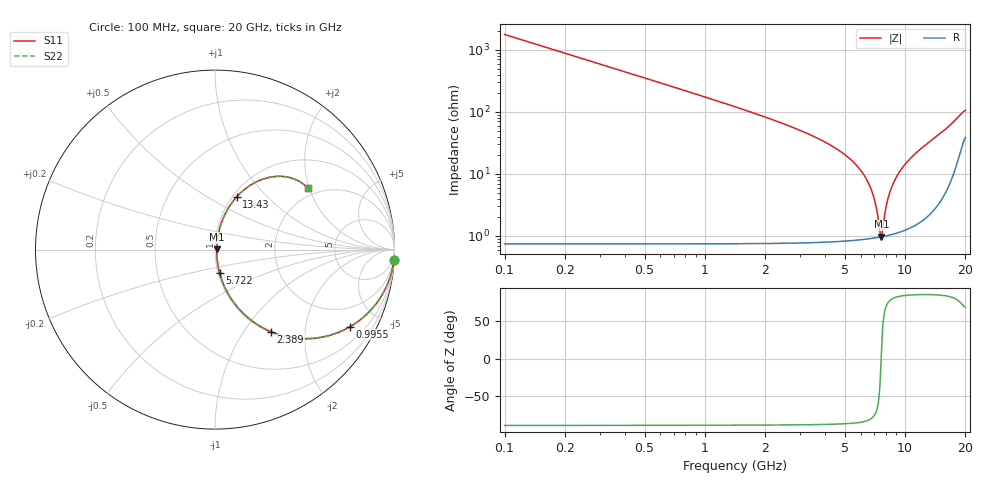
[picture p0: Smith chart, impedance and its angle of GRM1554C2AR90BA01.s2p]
!Murata Part Number: GRM1554C2AR90BA01
!These Parameters are Measured in Series Mode Connection
!Data Generated on Mar 30, 2021
!  o--ll--o
!Port1  Port2
!  o------o
!Operation Temp=25[degC], DC Bias Voltage=0[V]
!Freq. Start=100[MHz] Stop=20[GHz] 401[Steps]
# Hz S RI R 50
!Freq.(Hz) S11(Real) S11(Imag) S21(Real) S21(Imag) S12(Real) S12(Imag) S22(Real) S22(Imag)
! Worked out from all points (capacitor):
!   401 points, 100 MHz to 20 GHz, reference 50 ohm
!   read as one part in series: C = 900 fF near 199.5 MHz
!   lowest |Z| = 977 mohm at 7.612 GHz (marker M1)
!   series resonance near 7.592 GHz, so ESL is about 490 pH
!   S11 on the Smith chart (normalised r, x): 100 MHz: 1, -35; 995.5 MHz: 1.01, -3.49; 2.389 GHz: 1.02, -1.34; 5.722 GHz: 1.02, -0.27; 13.43 GHz: 1.05, +0.68; 20 GHz: 1.77, +1.97
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1e8  0.9968 -0.0564  0.00321 0.0564  0.00321 0.0564  0.9968 -0.0564
2.99e8  0.9719 -0.1645  0.0281 0.1645  0.0281 0.1645  0.9719 -0.1645
4.4825e8  0.9389 -0.2387  0.0611 0.2387  0.0611 0.2387  0.9389 -0.2387
6.97e8  0.8629 -0.3425  0.1371 0.3425  0.1371 0.3425  0.8629 -0.3425
9.955e8  0.7523 -0.4295  0.2477 0.4295  0.2477 0.4295  0.7523 -0.4295
1.5925e9  0.5306 -0.4955  0.4694 0.4955  0.4694 0.4955  0.5306 -0.4955
2.3885e9  0.3118 -0.4576  0.6882 0.4576  0.6882 0.4576  0.3118 -0.4576
3.43325e9  0.1507 -0.3485  0.8493 0.3485  0.8493 0.3485  0.1507 -0.3485
5.72175e9  0.0265 -0.1323  0.9735 0.1323  0.9735 0.1323  0.0265 -0.1323
6.7665e9  0.012 -0.0546  0.988 0.0546  0.988 0.0546  0.012 -0.0546
7.11475e9  0.0102 -0.031  0.9898 0.031  0.9898 0.031  0.0102 -0.031
7.51275e9  0.00954 -0.00504  0.9905 0.00504  0.9905 0.00504  0.00954 -0.00504
7.61225e9  0.00959 0.00127  0.9904 -0.00127  0.9904 -0.00127  0.00959 0.00127
8.06e9  0.0108 0.0288  0.9892 -0.0288  0.9892 -0.0288  0.0108 0.0288
8.458e9  0.0131 0.0523  0.9869 -0.0523  0.9869 -0.0523  0.0131 0.0523
9.10475e9  0.019 0.0888  0.981 -0.0888  0.981 -0.0888  0.019 0.0888
1.005e10  0.0322 0.1387  0.9678 -0.1387  0.9678 -0.1387  0.0322 0.1387
1.1443e10  0.0604 0.2064  0.9396 -0.2064  0.9396 -0.2064  0.0604 0.2064
1.338325e10  0.1184 0.2912  0.8816 -0.2912  0.8816 -0.2912  0.1184 0.2912
1.3433e10  0.1202 0.2932  0.8798 -0.2932  0.8798 -0.2932  0.1202 0.2932
1.67165e10  0.2898 0.3994  0.7102 -0.3994  0.7102 -0.3994  0.2898 0.3994
2e10  0.5209 0.3406  0.4791 -0.3406  0.4791 -0.3406  0.5209 0.3406
